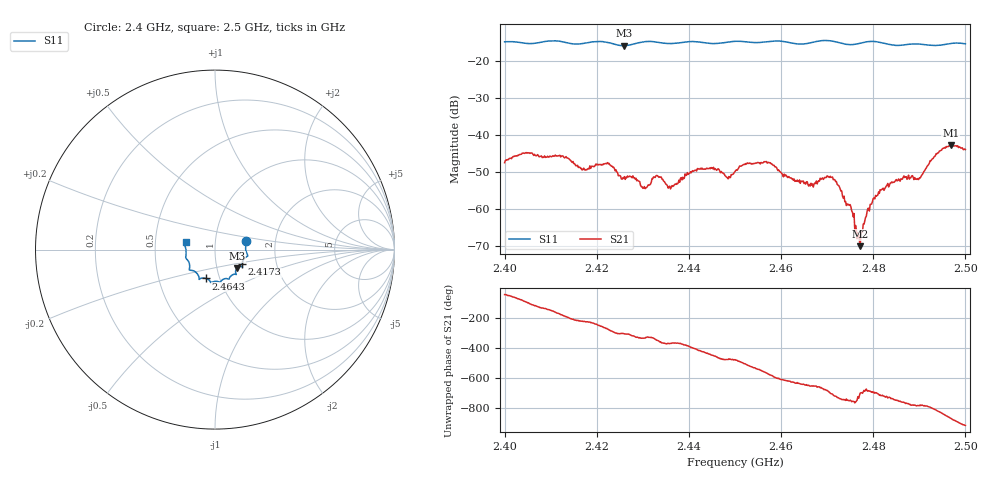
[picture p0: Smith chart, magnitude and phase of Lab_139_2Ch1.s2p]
# Hz S RI R 50
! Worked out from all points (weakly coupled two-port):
!   601 points, 2.4 GHz to 2.5 GHz, reference 50 ohm
!   highest |S21| = -42.81 dB at 2.4968 GHz (marker M1); lowest = -70.1 dB at 2.4772 GHz (marker M2)
!   lowest |S11| = -15.9 dB at 2.4258 GHz (marker M3), VSWR 1.38, Z = 62.3 - j13.3 ohm
!   |S11| at or under -10 dB: start of sweep to end of sweep
!   S12 and S22 are empty: the file has one direction only
!   S11 on the Smith chart (normalised r, x): 2.4 GHz: 1.41, +0.14; 2.4173 GHz: 1.34, -0.23; 2.4643 GHz: 0.86, -0.28; 2.5 GHz: 0.72, +0.06
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2.4e9  0.1735 0.0492  0.00289 -0.00305  0 0  0 0
2.4055e9  0.1707 0.00743  -0.00179 -0.00532  0 0  0 0
2.416667e9  0.1528 -0.0745  -0.00253 0.00246  0 0  0 0
2.417333e9  0.152 -0.0819  -0.00237 0.00241  0 0  0 0
2.422333e9  0.1501 -0.0947  0.000471 0.00419  0 0  0 0
2.425833e9  0.1218 -0.1037  0.00156 0.00205  0 0  0 0
2.430333e9  0.118 -0.1374  0.00184 0.00078  0 0  0 0
2.433333e9  0.1127 -0.1371  0.00271 0.000257  0 0  0 0
2.436e9  0.0942 -0.1428  0.00182 -0.000379  0 0  0 0
2.442333e9  0.0732 -0.1635  0.00173 -0.00298  0 0  0 0
2.45e9  0.029 -0.181  -0.00159 -0.00275  0 0  0 0
2.456833e9  -0.0127 -0.1797  -0.0038 0.00213  0 0  0 0
2.464333e9  -0.0497 -0.1607  0.000543 0.0023  0 0  0 0
2.466667e9  -0.076 -0.1594  0.000873 0.0019  0 0  0 0
2.4715e9  -0.0879 -0.1603  0.00249 -3.68e-05  0 0  0 0
2.475333e9  -0.1097 -0.1237  0.00071 -0.000606  0 0  0 0
2.477167e9  -0.1281 -0.1159  0.0003 9.08e-05  0 0  0 0
2.479833e9  -0.1431 -0.1137  0.00114 0.000554  0 0  0 0
2.483333e9  -0.141 -0.0897  0.00193 -0.000404  0 0  0 0
2.489833e9  -0.1631 -0.0414  0.000983 -0.00228  0 0  0 0
2.496833e9  -0.1693 0.0258  -0.00632 -0.00352  0 0  0 0
2.5e9  -0.164 0.0428  -0.006 0.00202  0 0  0 0
